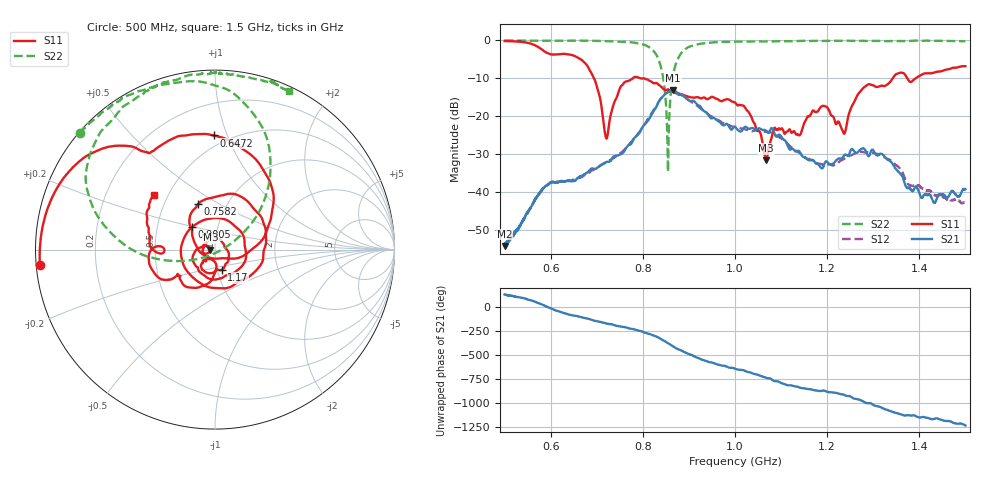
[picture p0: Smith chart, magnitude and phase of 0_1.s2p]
!Agilent Technologies,E8364B,US42250235,A.06.04.32
!Agilent E8364B: A.06.04.32
!Date: Thursday, October 01, 2020 14:00:29
!Correction: S11(Full 2 Port(1,2)) S21(Full 2 Port(1,2)) S12(Full 2 Port(1,2)) S22(Full 2 Port(1,2))
!S2P File: Measurements: S11, S21, S12, S22:
# Hz S  dB  R 50
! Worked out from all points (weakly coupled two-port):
!   2650 points, 500 MHz to 1.5 GHz, reference 50 ohm
!   highest |S21| = -13.13 dB at 865.4 MHz (marker M1); lowest = -54.3 dB at 500 MHz (marker M2)
!   lowest |S11| = -31.7 dB at 1.068 GHz (marker M3), VSWR 1.05, Z = 47.5 - j0.117 ohm
!   |S11| at or under -10 dB: 693.8 MHz to 778.4 MHz (84.56 MHz wide, 11.5 % of centre); 794 MHz to 1.342 GHz (548.4 MHz wide, 51.3 % of centre); 1.374 GHz to 1.392 GHz (18.74 MHz wide, 1.36 % of centre)
!   |S22| runs from -34.7 to 0.0 dB; largest |S21 - S12| = 0.016
!   S11 on the Smith chart (normalised r, x): 500 MHz: 0.01, -0.04; 647.2 MHz: 0.42, +0.90; 758.2 MHz: 0.73, +0.40; 900.5 MHz: 0.75, +0.19; 1.17 GHz: 1.05, -0.24; 1.5 GHz: 0.42, +0.32
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5e8  -0.18 -175.0  -54.31 127.5  -54.05 125.0  -0.04 139.2
5.675727e8  -1.40 139.4  -41.62 49.8  -41.86 51.7  -0.10 131.7
6.472254e8  -3.93 90.6  -37.18 -88.2  -36.91 -87.8  -0.12 122.9
6.668554e8  -5.14 66.0  -35.78 -108.3  -36.11 -109.5  -0.09 121.5
6.985655e8  -11.48 11.2  -33.87 -146.4  -33.81 -145.5  -0.15 118.1
7.204606e8  -25.89 -85.1  -32.16 -171.3  -32.23 -171.3  -0.22 114.5
7.582106e8  -11.36 110.5  -29.55 151.1  -29.10 148.6  -0.41 102.5
8.337108e8  -11.67 -23.7  -16.36 42.2  -16.42 37.8  -4.95 56.8
8.540959e8  -12.96 -67.8  -13.77 -14.4  -13.68 -17.1  -32.30 -20.7
8.654209e8  -13.50 -101.4  -13.13 -47.9  -13.18 -51.1  -9.37 -171.8
9.005285e8  -14.91 136.3  -15.88 -130.5  -15.92 -132.2  -1.70 151.1
9.446961e8  -15.29 -3.9  -20.19 146.5  -19.79 154.0  -0.67 127.2
1.000189e9  -16.45 -125.5  -22.91 79.0  -22.81 84.4  -0.34 113.5
1.067761e9  -31.66 -177.3  -23.91 -15.2  -24.10 -3.6  -0.29 109.6
1.086259e9  -23.08 -173.2  -24.79 -49.8  -24.90 -35.4  -0.27 107.9
1.166667e9  -19.04 -62.4  -31.58 -136.5  -31.72 -128.2  -0.16 94.5
1.169687e9  -18.51 -71.9  -31.69 -141.0  -31.77 -130.8  -0.13 94.2
1.236504e9  -24.67 -113.1  -30.38 168.6  -31.34 177.3  -0.11 89.8
1.276519e9  -12.84 -113.0  -28.54 103.8  -29.47 116.7  -0.13 88.4
1.333522e9  -11.40 -145.4  -31.70 7.1  -31.47 22.7  -0.20 80.1
1.43205e9  -8.52 167.1  -42.93 -80.2  -40.72 -86.9  -0.16 70.7
1.5e9  -6.84 137.9  -39.35 -149.0  -42.48 -137.6  -0.23 65.0
